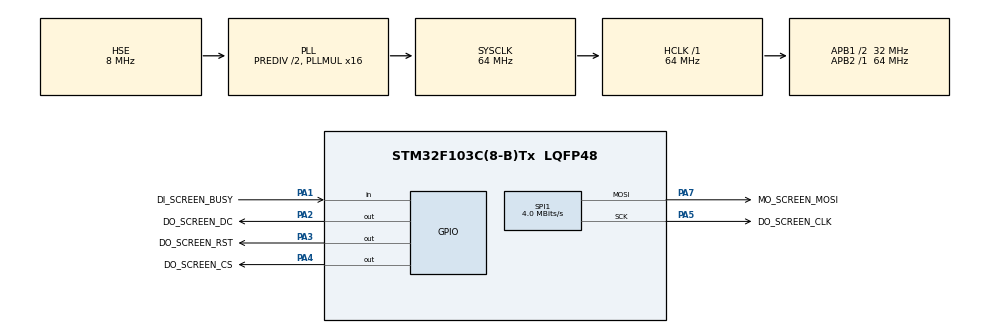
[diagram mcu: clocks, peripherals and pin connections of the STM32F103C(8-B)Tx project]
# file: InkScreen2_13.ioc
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Mcu.Family=STM32F1
Mcu.Name=STM32F103C(8-B)Tx
Mcu.Package=LQFP48
NVIC.PriorityGroup=NVIC_PRIORITYGROUP_4
PA1.GPIO_Label=DI_SCREEN_BUSY
PA1.Signal=GPIO_Input
PA13.Mode=Serial_Wire
PA13.Signal=SYS_JTMS-SWDIO
PA14.Mode=Serial_Wire
PA14.Signal=SYS_JTCK-SWCLK
PA2.GPIO_Label=DO_SCREEN_DC
PA2.Signal=GPIO_Output
PA3.GPIO_Label=DO_SCREEN_RST
PA3.Signal=GPIO_Output
PA4.GPIO_Label=DO_SCREEN_CS
PA4.PinState=GPIO_PIN_SET
PA4.Signal=GPIO_Output
PA5.GPIO_Label=DO_SCREEN_CLK
PA5.Mode=TX_Only_Simplex_Unidirect_Master
PA5.Signal=SPI1_SCK
PA7.GPIO_Label=MO_SCREEN_MOSI
PA7.Mode=TX_Only_Simplex_Unidirect_Master
PA7.Signal=SPI1_MOSI
PD0-OSC_IN.Mode=HSE-External-Oscillator
PD0-OSC_IN.Signal=RCC_OSC_IN
PD1-OSC_OUT.Mode=HSE-External-Oscillator
PD1-OSC_OUT.Signal=RCC_OSC_OUT
ProjectManager.HeapSize=0x200
ProjectManager.StackSize=0x1500
ProjectManager.TargetToolchain=MDK-ARM V5.27
RCC.AHBFreq_Value=64000000
RCC.APB1CLKDivider=RCC_HCLK_DIV2
RCC.APB1Freq_Value=32000000
RCC.APB1TimFreq_Value=64000000
RCC.APB2Freq_Value=64000000
RCC.APB2TimFreq_Value=64000000
RCC.HCLKFreq_Value=64000000
RCC.HSEDivPLL=RCC_HSE_PREDIV_DIV2
RCC.PLLMUL=RCC_PLL_MUL16
RCC.PLLSourceVirtual=RCC_PLLSOURCE_HSE
RCC.SYSCLKFreq_VALUE=64000000
RCC.SYSCLKSource=RCC_SYSCLKSOURCE_PLLCLK
RCC.USBFreq_Value=64000000
SPI1.BaudRatePrescaler=SPI_BAUDRATEPRESCALER_16
SPI1.CalculateBaudRate=4.0 MBits/s
SPI1.Direction=SPI_DIRECTION_2LINES
SPI1.Mode=SPI_MODE_MASTER
SPI1.VirtualType=VM_MASTER
board=custom

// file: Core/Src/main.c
/* USER CODE BEGIN Header */
/**
  ******************************************************************************
  * @file           : main.c
  * @brief          : Main program body
  ******************************************************************************
  * @attention
  *
  * Copyright (c) 2022 STMicroelectronics.
  * All rights reserved.
  *
  * This software is licensed under terms that can be found in the LICENSE file
  * in the root directory of this software component.
  * If no LICENSE file comes with this software, it is provided AS-IS.
  *
  ******************************************************************************
  */
/* USER CODE END Header */
#include "main.h"
#include "spi.h"
#include "gpio.h"

/* USER CODE BEGIN Includes */
#include "E2213JS0C1.h"
#include "image.h"

/* USER CODE END Includes */

void SystemClock_Config(void);

int main(void)
{

  /* MCU Configuration--------------------------------------------------------*/

  /* Reset of all peripherals, Initializes the Flash interface and the Systick. */
  HAL_Init();

  /* Configure the system clock */
  SystemClock_Config();

  /* Initialize all configured peripherals */
  MX_GPIO_Init();
  MX_SPI1_Init();
  /* USER CODE BEGIN 2 */
    E2213JS0C1_Init();
    /* 显示图片测试 */
    E2213JS0C1_DrawImage(0,0,104,212,gImage_1);
    E2213JS0C1_SendImageData();
    E2213JS0C1_SendUpdateCmd();
    E2213JS0C1_TurnOffDCDC();
    HAL_Delay(3000);
    /* 显示点�?�线、矩形�?�字符�?�bpm图片测试 */
    E2213JS0C1_ClearFullScreen(WHITE);
    E2213JS0C1_DrawPoint(0,0,RED);
    E2213JS0C1_DrawLine(0,2,10,HORIZONTAL,BLACK);
    E2213JS0C1_DrawLine(0,4,10,VERTICAL,BLACK);
    E2213JS0C1_DrawRectangle(0,16,10,10,SOLID,BLACK,RED);
    E2213JS0C1_DrawRectangle(20,16,10,10,HOLLOW,BLACK,RED);
    E2213JS0C1_ShowCharStr(0,30,"FONT TEST",FONT_1608,BLACK,WHITE);
    E2213JS0C1_DrawBmp(0,50,104,41,BLACK,WHITE,BmpImage);
    E2213JS0C1_ShowCharStr(0,100,"UID:5572380",FONT_1608,BLACK,WHITE);
    E2213JS0C1_ShowCharStr(20,116,"Designed",FONT_1608,BLACK,WHITE);
    E2213JS0C1_ShowCharStr(44,132,"By",FONT_1608,BLACK,WHITE);
    E2213JS0C1_ShowCharStr(40,148,"szongen",FONT_1608,BLACK,WHITE);
    E2213JS0C1_SendImageData();
    E2213JS0C1_SendUpdateCmd();
    E2213JS0C1_TurnOffDCDC();
  /* USER CODE END 2 */

  /* Infinite loop */
  while (1)
  {

  }
}

void SystemClock_Config(void)
{
  RCC_OscInitTypeDef RCC_OscInitStruct = {0};
  RCC_ClkInitTypeDef RCC_ClkInitStruct = {0};

  /** Initializes the RCC Oscillators according to the specified parameters
  * in the RCC_OscInitTypeDef structure.
  */
  RCC_OscInitStruct.OscillatorType = RCC_OSCILLATORTYPE_HSE;
  RCC_OscInitStruct.HSEState = RCC_HSE_ON;
  RCC_OscInitStruct.HSEPredivValue = RCC_HSE_PREDIV_DIV2;
  RCC_OscInitStruct.HSIState = RCC_HSI_ON;
  RCC_OscInitStruct.PLL.PLLState = RCC_PLL_ON;
  RCC_OscInitStruct.PLL.PLLSource = RCC_PLLSOURCE_HSE;
  RCC_OscInitStruct.PLL.PLLMUL = RCC_PLL_MUL16;
  if (HAL_RCC_OscConfig(&RCC_OscInitStruct) != HAL_OK)
  {
    Error_Handler();
  }

  /** Initializes the CPU, AHB and APB buses clocks
  */
  RCC_ClkInitStruct.ClockType = RCC_CLOCKTYPE_HCLK|RCC_CLOCKTYPE_SYSCLK
                              |RCC_CLOCKTYPE_PCLK1|RCC_CLOCKTYPE_PCLK2;
  RCC_ClkInitStruct.SYSCLKSource = RCC_SYSCLKSOURCE_PLLCLK;
  RCC_ClkInitStruct.AHBCLKDivider = RCC_SYSCLK_DIV1;
  RCC_ClkInitStruct.APB1CLKDivider = RCC_HCLK_DIV2;
  RCC_ClkInitStruct.APB2CLKDivider = RCC_HCLK_DIV1;

  if (HAL_RCC_ClockConfig(&RCC_ClkInitStruct, FLASH_LATENCY_2) != HAL_OK)
  {
    Error_Handler();
  }
}

void Error_Handler(void)
{
  __disable_irq();
  while (1)
  {
  }
}
